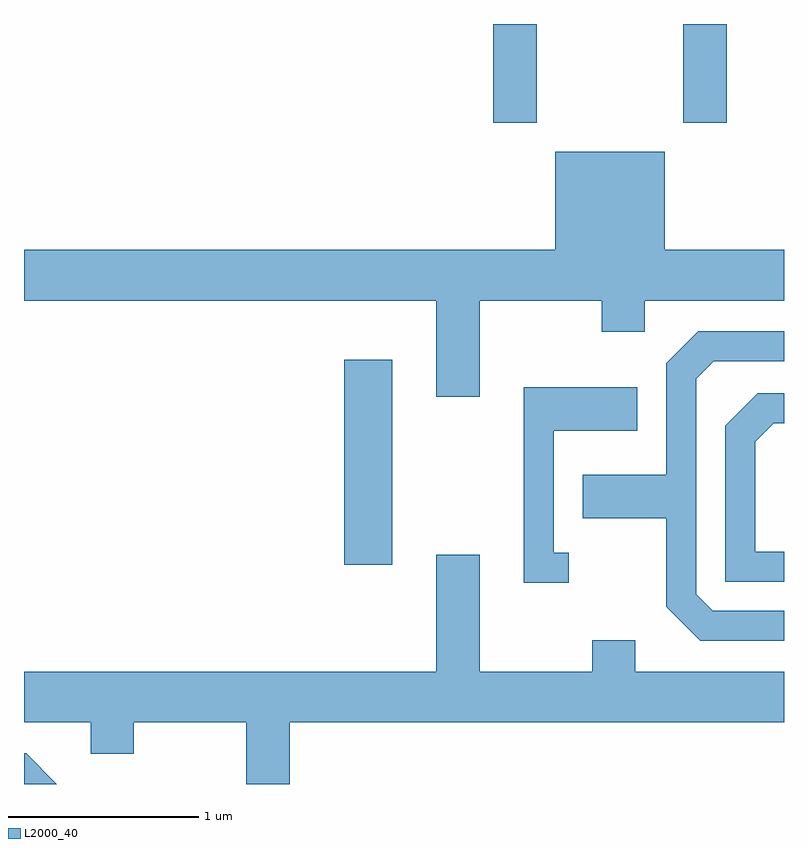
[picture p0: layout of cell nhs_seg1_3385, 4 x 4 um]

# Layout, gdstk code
import gdstk
lib = gdstk.Library(unit=1e-6, precision=1e-09)
def R(c, l, rs):  # rectangles x0, y0, x1, y1
    for r in rs: c.add(gdstk.rectangle(r[:2], r[2:], *l))
def P(c, l, *ps):  # polygons
    for p in ps: c.add(gdstk.Polygon(p, *l))
L2000_40 = (2000, 40)

nhs_seg1_3385 = lib.new_cell('nhs_seg1_3385')
R(nhs_seg1_3385, L2000_40, [(289.296,884.866,289.549,885.944), (290.081,887.191,290.309,887.712), (291.081,887.191,291.309,887.712)])
P(nhs_seg1_3385, L2000_40, [(290.009,886.256),(290.651,886.256),(290.651,886.091),(290.879,886.091),(290.879,886.256),(291.611,886.256),(291.611,886.524),(290.984,886.524),(290.984,887.039),(290.406,887.039),(290.406,886.524),(287.611,886.524),(287.611,886.256),(289.781,886.256),(289.781,885.751),(290.009,885.751)],
  [(291.611,884.624),(291.237,884.624),(291.149,884.712),(291.149,885.844),(291.242,885.936),(291.611,885.936),(291.611,886.094),(291.159,886.094),(290.991,885.927),(290.991,885.339),(290.551,885.339),(290.551,885.111),(290.991,885.111),(290.991,884.644),(291.169,884.466),(291.611,884.466)],
  [(290.478,884.929),(290.399,884.929),(290.399,885.571),(290.839,885.571),(290.839,885.799),(290.241,885.799),(290.241,884.771),(290.478,884.771)],
  [(291.611,884.934),(291.459,884.934),(291.459,885.514),(291.557,885.611),(291.611,885.611),(291.611,885.769),(291.474,885.769),(291.301,885.597),(291.301,884.776),(291.611,884.776)],
  [(289.009,884.036),(291.611,884.036),(291.611,884.304),(290.829,884.304),(290.829,884.469),(290.601,884.469),(290.601,884.304),(290.009,884.304),(290.009,884.919),(289.781,884.919),(289.781,884.304),(287.611,884.304),(287.611,884.036),(287.961,884.036),(287.961,883.871),(288.189,883.871),(288.189,884.036),(288.781,884.036),(288.781,883.712),(289.009,883.712)],
  [(287.622,883.874),(287.611,883.874),(287.611,883.712),(287.784,883.712)])

lib.write_gds('nhs_seg1_3385.gds')
